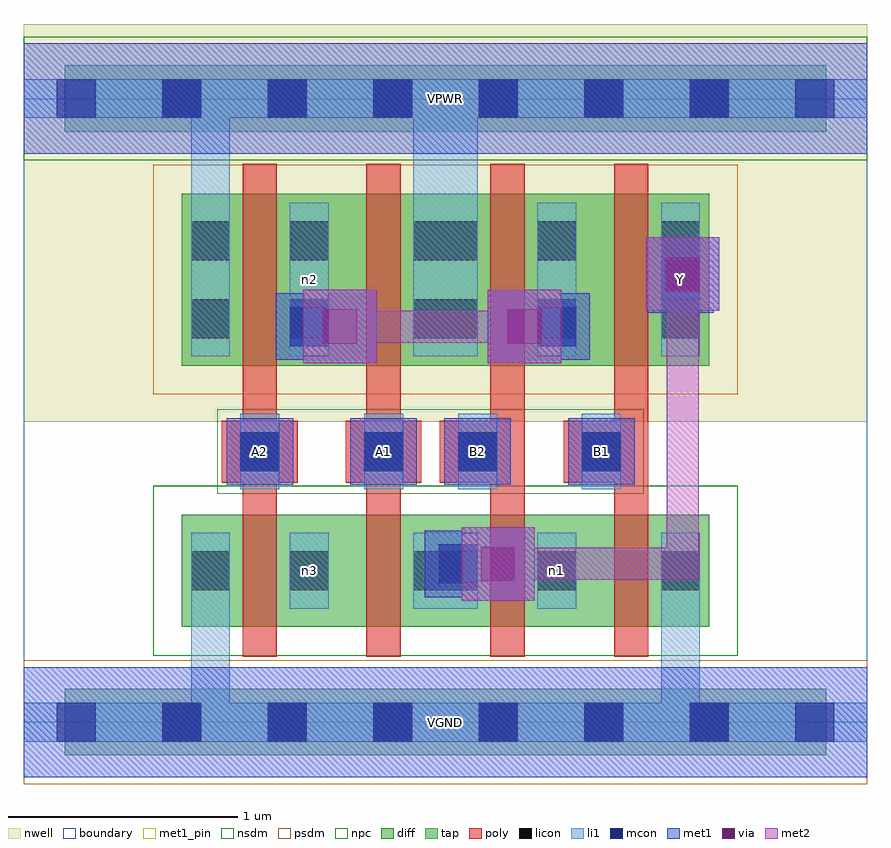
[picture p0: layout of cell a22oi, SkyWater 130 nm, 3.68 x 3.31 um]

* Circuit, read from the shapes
.subckt a22oi A1 A2 B1 B2 VGND VPWR Y n1 n2 n3
XM1 n3 A2 VGND VGND sky130_fd_pr__nfet_01v8 w=0.49 l=0.15
XM2 Y A1 n3 VGND sky130_fd_pr__nfet_01v8 w=0.49 l=0.15
XM3 n1 B2 Y VGND sky130_fd_pr__nfet_01v8 w=0.49 l=0.15
XM4 VGND B1 n1 VGND sky130_fd_pr__nfet_01v8 w=0.49 l=0.15
XM5 n2 A2 VPWR VPWR sky130_fd_pr__pfet_01v8 w=0.75 l=0.15
XM6 VPWR A1 n2 VPWR sky130_fd_pr__pfet_01v8 w=0.75 l=0.15
XM7 n2 B2 VPWR VPWR sky130_fd_pr__pfet_01v8 w=0.75 l=0.15
XM8 Y B1 n2 VPWR sky130_fd_pr__pfet_01v8 w=0.75 l=0.15
.ends

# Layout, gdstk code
import gdstk
lib = gdstk.Library(unit=1e-6, precision=1e-09)
def R(c, l, rs):  # rectangles x0, y0, x1, y1
    for r in rs: c.add(gdstk.rectangle(r[:2], r[2:], *l))
def A(c, l, x, y, w, h, nx, ny, dx, dy):  # array of equal rectangles
    R(c, l, [(x+i*dx, y+j*dy, x+i*dx+w, y+j*dy+h) for i in range(nx) for j in range(ny)])
nwell = (64, 20)
diff = (65, 20)
tap = (65, 44)
poly = (66, 20)
licon = (66, 44)
li1 = (67, 20)
mcon = (67, 44)
met1_pin = (68, 16)
met1 = (68, 20)
via = (68, 44)
met2 = (69, 20)
nsdm = (93, 44)
psdm = (94, 20)
npc = (95, 20)
boundary = (235, 4)

a22oi = lib.new_cell('a22oi')
R(a22oi, nwell, [(0,1.31,3.68,3.045)])
R(a22oi, diff, [(0.69,0.415,1.91,0.905), (1.77,0.415,2.99,0.905), (0.69,1.555,1.91,2.305), (1.77,1.555,2.99,2.305)])
R(a22oi, tap, [(0.18,-0.145,3.5,0.145), (0.18,2.575,3.5,2.865)])
A(a22oi, poly, 0.955, 0.285, 0.15, 2.15, 4, 1, 0.54, 0)
R(a22oi, poly, [(0.865,1.045,1.195,1.315), (1.405,1.045,1.735,1.315), (1.815,1.045,2.145,1.315), (2.355,1.045,2.685,1.315)])
A(a22oi, licon, 0.605, -0.085, 0.17, 0.17, 6, 2, 0.46, 2.72)
R(a22oi, licon, [(0.73,0.575,0.9,0.745), (1.16,0.575,1.33,0.745), (1.7,0.575,1.87,0.745), (1.81,0.575,1.98,0.745), (2.24,0.575,2.41,0.745), (2.78,0.575,2.95,0.745), (0.945,1.095,1.115,1.265), (1.485,1.095,1.655,1.265), (1.895,1.095,2.065,1.265), (2.435,1.095,2.605,1.265), (0.73,1.675,0.9,1.845), (1.16,1.675,1.33,1.845), (1.7,1.675,1.87,1.845), (1.81,1.675,1.98,1.845), (2.24,1.675,2.41,1.845), (2.78,1.675,2.95,1.845), (0.73,2.015,0.9,2.185), (1.16,2.015,1.33,2.185), (1.7,2.015,1.87,2.185), (1.81,2.015,1.98,2.185), (2.24,2.015,2.41,2.185), (2.78,2.015,2.95,2.185)])
R(a22oi, li1, [(0,-0.085,3.68,0.085), (0.73,-0.085,0.9,0.825), (2.78,-0.085,2.95,0.825), (0.73,0.495,0.9,0.825), (1.16,0.495,1.33,0.825), (1.7,0.495,1.87,0.825), (1.81,0.495,1.98,0.825), (2.24,0.495,2.41,0.825), (2.78,0.495,2.95,0.825), (0.945,1.015,1.115,1.345), (1.485,1.015,1.655,1.345), (1.895,1.015,2.065,1.345), (2.435,1.015,2.605,1.345), (0.73,1.595,0.9,2.265), (0.73,1.595,0.9,2.805), (1.16,1.595,1.33,2.265), (1.7,1.595,1.87,2.265), (1.7,1.595,1.87,2.805), (1.81,1.595,1.98,2.265), (1.81,1.595,1.98,2.805), (2.24,1.595,2.41,2.265), (2.78,1.595,2.95,2.265), (0,2.635,3.68,2.805)])
A(a22oi, mcon, 0.145, -0.085, 0.17, 0.17, 8, 2, 0.46, 2.72)
R(a22oi, mcon, [(1.81,0.605,1.98,0.775), (0.945,1.095,1.115,1.265), (1.485,1.095,1.655,1.265), (1.895,1.095,2.065,1.265), (2.435,1.095,2.605,1.265), (1.16,1.64,1.33,1.81), (2.24,1.64,2.41,1.81), (2.78,1.845,2.95,2.015)])
R(a22oi, met1_pin, [(0,-0.24,3.68,0.24), (0.885,1.035,1.175,1.325), (1.425,1.035,1.715,1.325), (1.835,1.035,2.125,1.325), (2.375,1.035,2.665,1.325), (2.72,1.785,3.01,2.075), (0,2.48,3.68,2.96)])
R(a22oi, met1, [(0,-0.24,3.68,0.24), (1.91,0.53,2.23,0.85), (1.75,0.545,2.04,0.835), (1.825,0.62,2.14,0.76), (0.885,1.035,1.175,1.325), (1.425,1.035,1.715,1.325), (1.835,1.035,2.125,1.325), (2.375,1.035,2.665,1.325), (1.22,1.565,1.54,1.885), (2.025,1.565,2.345,1.885), (1.1,1.58,1.39,1.87), (2.18,1.58,2.47,1.87), (1.175,1.655,1.45,1.795), (2.115,1.655,2.395,1.795), (2.72,1.785,3.01,2.075), (2.715,1.795,3.035,2.115), (2.805,1.885,2.945,2.025), (0,2.48,3.68,2.96)])
R(a22oi, via, [(1.995,0.615,2.145,0.765), (1.305,1.65,1.455,1.8), (2.11,1.65,2.26,1.8), (2.8,1.88,2.95,2.03)])
R(a22oi, met2, [(1.91,0.53,2.23,0.85), (2,0.62,2.945,0.76), (2.805,0.62,2.945,2.025), (1.22,1.565,1.54,1.885), (2.025,1.565,2.345,1.885), (1.31,1.655,2.255,1.795), (2.715,1.795,3.035,2.115)])
R(a22oi, nsdm, [(0.565,0.29,3.115,1.03), (0,2.45,3.68,2.99)])
R(a22oi, psdm, [(0,-0.27,3.68,0.27), (0.565,1.43,3.115,2.43)])
R(a22oi, npc, [(0.845,0.995,2.705,1.365)])
R(a22oi, boundary, [(0,0,3.68,2.72)])
a22oi.add(gdstk.Label('n3', (1.245,0.66), layer=67, texttype=5))
a22oi.add(gdstk.Label('n1', (2.325,0.66), layer=67, texttype=5))
a22oi.add(gdstk.Label('n2', (1.245,1.93), layer=67, texttype=5))
a22oi.add(gdstk.Label('A1', (1.57,1.18), layer=68, texttype=5))
a22oi.add(gdstk.Label('A2', (1.03,1.18), layer=68, texttype=5))
a22oi.add(gdstk.Label('B1', (2.52,1.18), layer=68, texttype=5))
a22oi.add(gdstk.Label('B2', (1.98,1.18), layer=68, texttype=5))
a22oi.add(gdstk.Label('Y', (2.865,1.93), layer=68, texttype=5))
a22oi.add(gdstk.Label('VPWR', (1.84,2.72), layer=68, texttype=5))
a22oi.add(gdstk.Label('VGND', (1.84,0), layer=68, texttype=5))
a22oi.add(gdstk.Label('A1', (1.57,1.18), layer=68, texttype=16))
a22oi.add(gdstk.Label('A2', (1.03,1.18), layer=68, texttype=16))
a22oi.add(gdstk.Label('B1', (2.52,1.18), layer=68, texttype=16))
a22oi.add(gdstk.Label('B2', (1.98,1.18), layer=68, texttype=16))
a22oi.add(gdstk.Label('Y', (2.865,1.93), layer=68, texttype=16))
a22oi.add(gdstk.Label('VPWR', (1.84,2.72), layer=68, texttype=16))
a22oi.add(gdstk.Label('VGND', (1.84,0), layer=68, texttype=16))

lib.write_gds('a22oi.gds')
